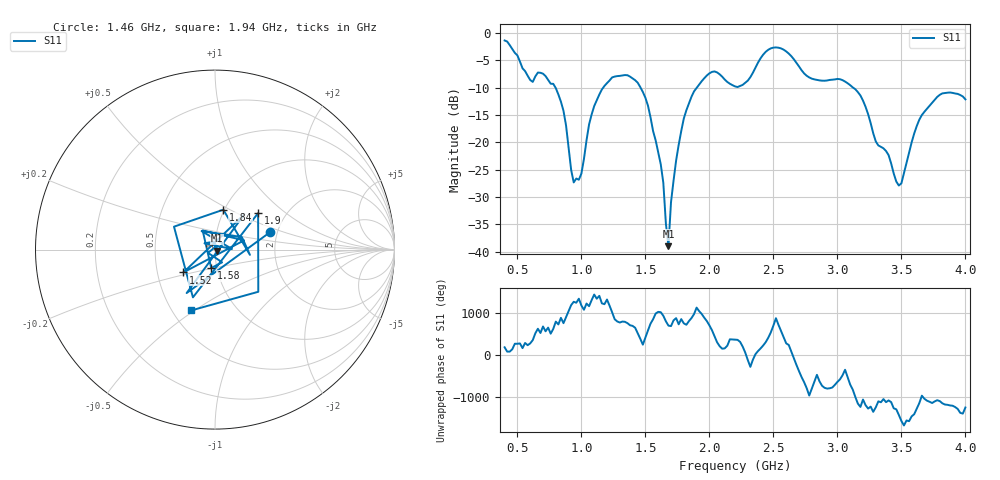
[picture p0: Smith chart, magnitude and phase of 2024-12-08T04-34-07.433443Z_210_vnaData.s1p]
!Created with skrf (http://scikit-rf.org).
# Hz S RI R 50.0
!freq ReS11 ImS11
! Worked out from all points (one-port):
!   181 points, 400 MHz to 4 GHz, reference 50 ohm
!   lowest |S11| = -39.0 dB at 1.68 GHz (marker M1), VSWR 1.02, Z = 51 - j0.553 ohm
!   |S11| at or under -10 dB: 798.4 MHz to 1.17 GHz (371.2 MHz wide, 37.7 % of centre); 1.463 GHz to 1.901 GHz (438.7 MHz wide, 26.1 % of centre); 3.124 GHz to end of sweep
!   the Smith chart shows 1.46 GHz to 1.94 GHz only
!   S11 on the Smith chart (normalised r, x): 1.46 GHz: 1.83, +0.39; 1.52 GHz: 0.68, -0.18; 1.58 GHz: 0.94, -0.19; 1.84 GHz: 0.99, +0.46; 1.9 GHz: 1.46, +0.66; 1.94 GHz: 0.62, -0.49
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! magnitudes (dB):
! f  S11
! 400 MHz  -1.3
! 600 MHz  -8.6
! 780 MHz  -9.3
! 860 MHz  -14.2
! 940 MHz  -27.3
! 980 MHz  -26.8
! 1.1 GHz  -13.3
! 1.3 GHz  -7.8
! 1.46 GHz  -9.9
! 1.52 GHz  -13.3
! 1.58 GHz  -19.6
! 1.64 GHz  -27.4
! 1.68 GHz  -39.0
! 1.7 GHz  -30.9
! 1.76 GHz  -20.5
! 1.84 GHz  -12.9
! 1.9 GHz  -10.0
! 1.94 GHz  -8.8
! 2.04 GHz  -7.0
! 2.2 GHz  -9.7
! 2.48 GHz  -2.8
! 2.66 GHz  -4.8
! 3.1 GHz  -9.5
! 3.48 GHz  -27.9
! 3.56 GHz  -21.9
! 3.64 GHz  -15.8
! 3.78 GHz  -11.7
! 4 GHz  -12.1
